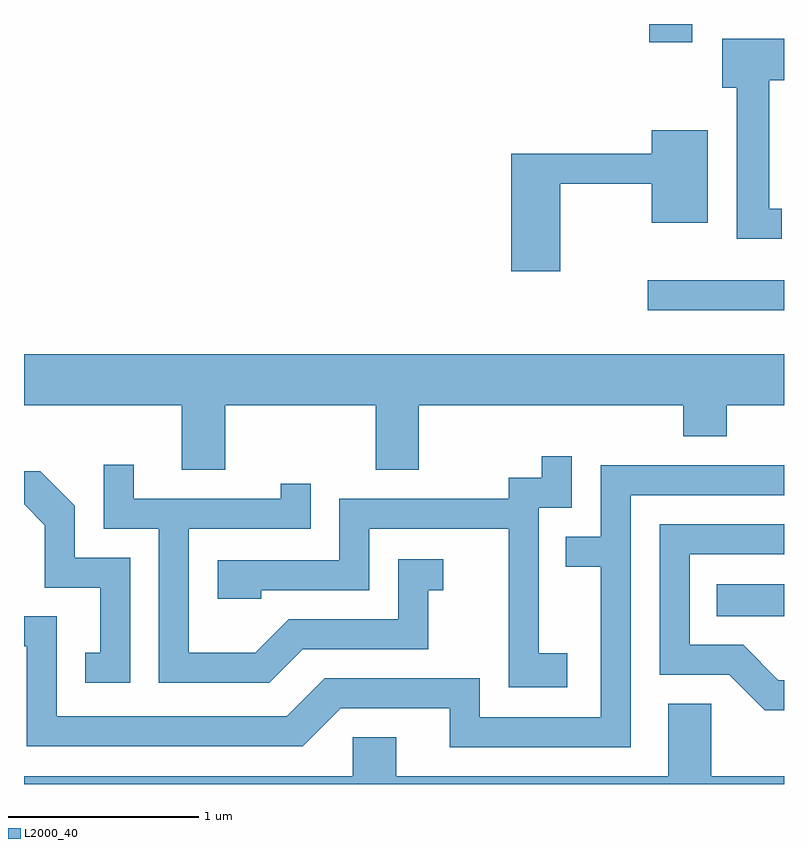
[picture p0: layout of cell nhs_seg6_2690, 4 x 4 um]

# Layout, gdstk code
import gdstk
lib = gdstk.Library(unit=1e-6, precision=1e-09)
def R(c, l, rs):  # rectangles x0, y0, x1, y1
    for r in rs: c.add(gdstk.rectangle(r[:2], r[2:], *l))
def P(c, l, *ps):  # polygons
    for p in ps: c.add(gdstk.Polygon(p, *l))
L2000_40 = (2000, 40)

nhs_seg6_2690 = lib.new_cell('nhs_seg6_2690')
R(nhs_seg6_2690, L2000_40, [(269.258,1651.046,269.611,1651.214), (268.893,1652.656,269.611,1652.814), (268.901,1654.066,269.129,1654.162)])
P(nhs_seg6_2690, L2000_40, [(269.598,1653.189),(269.534,1653.189),(269.534,1653.866),(269.611,1653.866),(269.611,1654.084),(269.286,1654.084),(269.286,1653.826),(269.361,1653.826),(269.361,1653.031),(269.598,1653.031)],
  [(268.434,1653.321),(268.916,1653.321),(268.916,1653.116),(269.209,1653.116),(269.209,1653.604),(268.916,1653.604),(268.916,1653.479),(268.176,1653.479),(268.176,1652.861),(268.434,1652.861)],
  [(266.669,1652.156),(267.461,1652.156),(267.461,1651.816),(267.689,1651.816),(267.689,1652.156),(269.081,1652.156),(269.081,1651.991),(269.309,1651.991),(269.309,1652.156),(269.611,1652.156),(269.611,1652.424),(265.611,1652.424),(265.611,1652.156),(266.441,1652.156),(266.441,1651.816),(266.669,1651.816)],
  [(268.469,1650.849),(268.319,1650.849),(268.319,1651.616),(268.494,1651.616),(268.494,1651.888),(268.336,1651.888),(268.336,1651.774),(268.161,1651.774),(268.161,1651.664),(267.271,1651.664),(267.271,1651.339),(266.631,1651.339),(266.631,1651.136),(266.859,1651.136),(266.859,1651.181),(267.429,1651.181),(267.429,1651.506),(268.161,1651.506),(268.161,1650.671),(268.469,1650.671)],
  [(267.077,1650.871),(267.739,1650.871),(267.739,1651.181),(267.818,1651.181),(267.818,1651.344),(267.581,1651.344),(267.581,1651.029),(267.004,1651.029),(266.829,1650.854),(266.479,1650.854),(266.479,1651.506),(267.119,1651.506),(267.119,1651.743),(266.961,1651.743),(266.961,1651.664),(266.189,1651.664),(266.189,1651.843),(266.031,1651.843),(266.031,1651.506),(266.321,1651.506),(266.321,1650.696),(266.902,1650.696)],
  [(268.804,1651.681),(269.611,1651.681),(269.611,1651.839),(268.646,1651.839),(268.646,1651.464),(268.463,1651.464),(268.463,1651.306),(268.646,1651.306),(268.646,1650.514),(268.009,1650.514),(268.009,1650.719),(267.194,1650.719),(266.994,1650.519),(265.784,1650.519),(265.784,1651.044),(265.611,1651.044),(265.611,1650.886),(265.626,1650.886),(265.626,1650.361),(267.077,1650.361),(267.277,1650.561),(267.851,1650.561),(267.851,1650.356),(268.804,1650.356)],
  [(266.169,1651.354),(265.879,1651.354),(265.879,1651.627),(265.697,1651.809),(265.611,1651.809),(265.611,1651.634),(265.721,1651.524),(265.721,1651.196),(266.011,1651.196),(266.011,1650.854),(265.933,1650.854),(265.933,1650.696),(266.169,1650.696)],
  [(269.611,1650.709),(269.582,1650.709),(269.397,1650.894),(269.114,1650.894),(269.114,1651.371),(269.611,1651.371),(269.611,1651.529),(268.956,1651.529),(268.956,1650.736),(269.324,1650.736),(269.509,1650.551),(269.611,1650.551)],
  [(269.611,1650.204),(269.229,1650.204),(269.229,1650.584),(269.001,1650.584),(269.001,1650.204),(267.569,1650.204),(267.569,1650.409),(267.341,1650.409),(267.341,1650.204),(265.611,1650.204),(265.611,1650.162),(269.611,1650.162)])

lib.write_gds('nhs_seg6_2690.gds')
